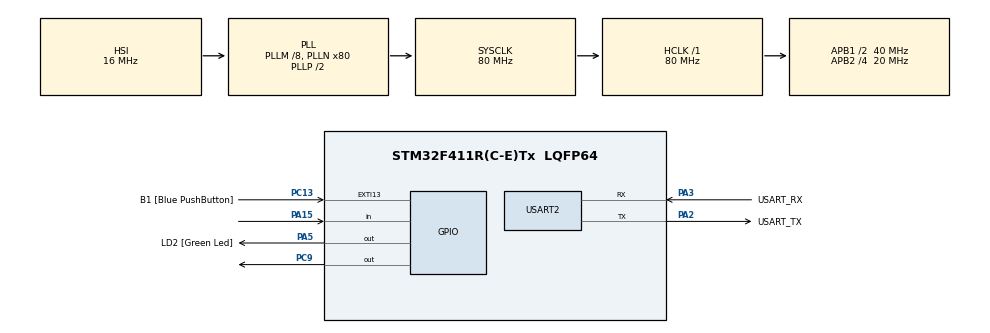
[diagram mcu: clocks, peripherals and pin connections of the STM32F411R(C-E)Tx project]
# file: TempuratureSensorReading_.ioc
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Mcu.Family=STM32F4
Mcu.Name=STM32F411R(C-E)Tx
Mcu.Package=LQFP64
NVIC.PriorityGroup=NVIC_PRIORITYGROUP_0
NVIC.TIM1_BRK_TIM9_IRQn=true\:0\:1\:false\:false\:true\:true\:true
NVIC.TIM1_UP_TIM10_IRQn=true\:0\:1\:false\:false\:true\:true\:true
NVIC.TIM3_IRQn=true\:0\:0\:false\:false\:true\:true\:true
PA13.GPIO_Label=TMS
PA13.Mode=Serial_Wire
PA13.Signal=SYS_JTMS-SWDIO
PA14.GPIO_Label=TCK
PA14.Mode=Serial_Wire
PA14.Signal=SYS_JTCK-SWCLK
PA15.Signal=GPIO_Input
PA2.GPIO_Label=USART_TX
PA2.Mode=Asynchronous
PA2.Signal=USART2_TX
PA3.GPIO_Label=USART_RX
PA3.Mode=Asynchronous
PA3.Signal=USART2_RX
PA5.GPIO_Label=LD2 [Green Led]
PA5.Signal=GPIO_Output
PB3.GPIO_Label=SWO
PB3.Signal=SYS_JTDO-SWO
PC13-ANTI_TAMP.GPIO_Label=B1 [Blue PushButton]
PC13-ANTI_TAMP.GPIO_ModeDefaultEXTI=GPIO_MODE_IT_FALLING
PC13-ANTI_TAMP.Signal=GPXTI13
PC14-OSC32_IN.Mode=LSE-External-Oscillator
PC14-OSC32_IN.Signal=RCC_OSC32_IN
PC15-OSC32_OUT.Mode=LSE-External-Oscillator
PC15-OSC32_OUT.Signal=RCC_OSC32_OUT
PC9.GPIO_ModeDefaultOutputPP=GPIO_MODE_OUTPUT_OD
PC9.GPIO_PuPd=GPIO_PULLUP
PC9.PinState=GPIO_PIN_SET
PC9.Signal=GPIO_Output
PH0\ -\ OSC_IN.Mode=HSE-External-Clock-Source
PH0\ -\ OSC_IN.Signal=RCC_OSC_IN
PH1\ -\ OSC_OUT.Mode=HSE-External-Clock-Source
PH1\ -\ OSC_OUT.Signal=RCC_OSC_OUT
ProjectManager.HeapSize=0x200
ProjectManager.StackSize=0x400
ProjectManager.TargetToolchain=STM32CubeIDE
RCC.48MHZClocksFreq_Value=40000000
RCC.AHBFreq_Value=80000000
RCC.APB1CLKDivider=RCC_HCLK_DIV2
RCC.APB1Freq_Value=40000000
RCC.APB1TimFreq_Value=80000000
RCC.APB2CLKDivider=RCC_HCLK_DIV4
RCC.APB2Freq_Value=20000000
RCC.APB2TimFreq_Value=40000000
RCC.CortexFreq_Value=80000000
RCC.FLatency-AdvancedSettings=FLASH_LATENCY_2
RCC.HCLKFreq_Value=80000000
RCC.HSE_VALUE=8000000
RCC.HSI_VALUE=16000000
RCC.PLLM=8
RCC.PLLN=80
RCC.SYSCLKFreq_VALUE=80000000
RCC.SYSCLKSource=RCC_SYSCLKSOURCE_PLLCLK
RCC.VCOOutputFreq_Value=160000000
TIM1.Period=1000
TIM1.Prescaler=40000 - 1
TIM3.Prescaler=0
USART2.VirtualMode=VM_ASYNC
VP_TIM1_VS_ClockSourceINT.Mode=Internal
VP_TIM3_VS_ClockSourceINT.Mode=Internal
board=NUCLEO-F411RE

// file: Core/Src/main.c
/* USER CODE BEGIN Header */
/**
  ******************************************************************************
  * @file           : main.c
  * @brief          : Main program body
  ******************************************************************************
  * @attention
  *
  * <h2><center>&copy; Copyright (c) 2020 STMicroelectronics.
  * All rights reserved.</center></h2>
  *
  * This software component is licensed by ST under BSD 3-Clause license,
  * the "License"; You may not use this file except in compliance with the
  * License. You may obtain a copy of the License at:
  *                        opensource.org/licenses/BSD-3-Clause
  *
  ******************************************************************************
  */
/* USER CODE END Header */
#include "main.h"

/* USER CODE BEGIN Includes */
#include "DHT.h"
#include <math.h>
/* USER CODE END Includes */

/* USER CODE BEGIN PTD */
DHT_DataTypedef DHT11_Data;
float T1 , T2 , H1 , H2;
/* USER CODE END PTD */

/* USER CODE BEGIN PD */
#define FAN_ON 1
#define FAN_OFF 0
#define e 2.718281828459

#define FAN_GPIO GPIOC
#define FAN_PIN GPIO_PIN_9
/* USER CODE END PD */

TIM_HandleTypeDef htim1;
TIM_HandleTypeDef htim3;

UART_HandleTypeDef huart2;

void SystemClock_Config(void);
static void MX_GPIO_Init(void);
static void MX_USART2_UART_Init(void);
static void MX_TIM1_Init(void);
static void MX_TIM3_Init(void);

/* USER CODE BEGIN 0 */
char serialOutBuffer[200];

uint8_t nowFanState = FAN_OFF;

uint64_t timerTick = 0;
void timerIRQcallback() {
//	uint16_t nowTimer =  __HAL_TIM_GET_COUNTER(&htim1);
//	sprintf(serialOutBuffer,"Timer interupted : nowTIme -> %d" , nowTimer);
//	HAL_UART_Transmit(&huart2 , (uint32_t *) serialOutBuffer , 200 , 100 );
	timerTick++;

}

uint64_t getTickTimer1() {
	return (timerTick - 1) * 65536 + (uint64_t) __HAL_TIM_GET_COUNTER(&htim1);
}

uint64_t getTimer1Second() {
	return getTickTimer1() / 1000;
}

uint8_t fanState = FAN_OFF;
uint64_t lastFanOffTimeSecond = 0;
uint64_t lastFanOnTimeSecond = 0;

uint8_t switchToOn() {
	double triggerOnProbs = 1;
	uint64_t timediff = getTimer1Second() - lastFanOffTimeSecond;
	timediff = timediff > 300 ? 300 : timediff;
	float timeFromLastOff = timediff; // Second Max = 300 ??

	float insideRHNow = H2;
	float outsideRHNow = H1;
	float diffNowRH = insideRHNow - outsideRHNow;

	double probDiffNowRh = (double) (1 / (1 + pow(e, - 0.34 * diffNowRH + 1)) );
	double probTimeFromLastOff = (double) (1 / (1 + pow(e, - 0.1 * timeFromLastOff + 1)) );
	double probInsideRh = (double) (1 / (1 + pow(e, - 0.34 * (insideRHNow - 60) + 1)) );

	triggerOnProbs = probDiffNowRh * probTimeFromLastOff * probInsideRh;
	return triggerOnProbs > 0.6;
}

uint8_t switchToOff() {
	double triggerOffProbs = 1;
	uint64_t timediff = getTimer1Second() - lastFanOnTimeSecond;
	timediff = timediff > 300 ? 300 : timediff;
	float timeFromLastOn = timediff; // Second Max = 300 ??

	float insideRHNow = H2;
	float outsideRHNow = H1;
	float diffNowRH = insideRHNow - outsideRHNow;

	double probDiffNowRh = (double) (1 / (1 + pow(e, - 0.3 * diffNowRH + 0.3)) );

	double probTimeFromLastOff = (double) (1 / (1 + pow(e, - 0.2 * timeFromLastOn + 10)) );
	probTimeFromLastOff = 1 - probTimeFromLastOff;

	double probInsideRh = (double) (1 / (1 + pow(e, - 0.4 * (insideRHNow - 45) + 3.5)) );

	triggerOffProbs = probDiffNowRh * probTimeFromLastOff * probInsideRh;
	return triggerOffProbs < 0.5;
}

void setFan(uint8_t targetFanState) {
	if (targetFanState == nowFanState) return;

}

void fanControlLoop() {
//	float insideRH = 50;
//	float outsideRH = 60;
//	uint64_t timeInSecond = getTimer1Second();

	switch (fanState) {
		case FAN_ON :
			state_FanOn();
			break;
		case FAN_OFF :
			state_FanOff();
			break;
		default :
			break;
	}

}

void state_FanOn() {
	if (switchToOff() > 0) {
		lastFanOffTimeSecond = getTimer1Second();
		fanState = FAN_OFF;
		return;
	}

	  sprintf(serialOutBuffer,"FAN ON                                                                                                     \n" );
	  HAL_UART_Transmit(&huart2 , (uint32_t *) serialOutBuffer , 200 , 100 );
	  HAL_GPIO_WritePin(FAN_GPIO, FAN_PIN, GPIO_PIN_RESET);

}

void state_FanOff() {
	if (switchToOn() > 0) {
		lastFanOnTimeSecond = getTimer1Second();
		fanState = FAN_ON;
		return;
	}
	  sprintf(serialOutBuffer,"FAN OFF                                                                                                      \n" );
	  HAL_UART_Transmit(&huart2 , (uint32_t *) serialOutBuffer , 200 , 100 );
	  HAL_GPIO_WritePin(FAN_GPIO, FAN_PIN, GPIO_PIN_SET);
}

void tim1Delay(uint32_t mills) {
	uint64_t startTime = getTickTimer1();
	//mills *= 1000;
	while (getTickTimer1() - startTime < mills);
	return;
}

void fanSystemHandle() {
	  setDhtPin(GPIO_PIN_15);
	  DHT_GetData(&DHT11_Data);
	  T1 = DHT11_Data.Temperature;
	  H1 = DHT11_Data.Humidity;
	  //sprintf(serialOutBuffer,"Sensor 1 : Temperature : %.2f C , Humidity : %.2f %% \n",Temperature ,Humidity );
	  //HAL_UART_Transmit(&huart2 , (uint32_t *) serialOutBuffer , 100 , 100 );

	  tim1Delay(100);
	  setDhtPin(GPIO_PIN_12);
	  DHT_GetData(&DHT11_Data);
	  T2 = DHT11_Data.Temperature;
	  H2 = DHT11_Data.Humidity + 4; // Shift up 4 %
	  //sprintf(serialOutBuffer,"Sensor 2 : Temperature : %.2f C , Humidity : %.2f %% \n",Temperature ,Humidity );
	  sprintf(serialOutBuffer,"Sensor 1 : Temperature : %.2f C , Humidity : %.2f %%    Sensor 2 : Temperature : %.2f C , Humidity : %.2f %% \n",T1 ,H1 , T2 , H2 );
	  HAL_UART_Transmit(&huart2 , (uint32_t *) serialOutBuffer , 200 , 100 );
	  fanControlLoop();
	  tim1Delay(1000);
}

/* USER CODE END 0 */

int main(void)
{

  /* MCU Configuration--------------------------------------------------------*/

  /* Reset of all peripherals, Initializes the Flash interface and the Systick. */
  HAL_Init();

  /* USER CODE BEGIN Init */
  // HAL_GPIO_WritePin(FAN_GPIO, FAN_PIN, GPIO_PIN_SET);
  /* USER CODE END Init */

  /* Configure the system clock */
  SystemClock_Config();

  /* Initialize all configured peripherals */
  MX_GPIO_Init();
  MX_USART2_UART_Init();
  MX_TIM1_Init();
  MX_TIM3_Init();
  /* USER CODE BEGIN 2 */
  HAL_TIM_Base_Start_IT(&htim1);
  HAL_TIM_Base_Start_IT(&htim3);
  /* USER CODE END 2 */

  /* Infinite loop */
  while (1)
  {

    /* USER CODE BEGIN 3 */
//	  setDhtPin(GPIO_PIN_15);
//	  DHT_GetData(&DHT11_Data);
//  	  T1 = DHT11_Data.Temperature;
//	  H1 = DHT11_Data.Humidity;
//	  //sprintf(serialOutBuffer,"Sensor 1 : Temperature : %.2f C , Humidity : %.2f %% \n",Temperature ,Humidity );
//	  //HAL_UART_Transmit(&huart2 , (uint32_t *) serialOutBuffer , 100 , 100 );
//
//	  HAL_Delay(100);
//	  setDhtPin(GPIO_PIN_12);
//	  DHT_GetData(&DHT11_Data);
//  	  T2 = DHT11_Data.Temperature;
//	  H2 = DHT11_Data.Humidity + 4; // Shift up 4 %
//	  //sprintf(serialOutBuffer,"Sensor 2 : Temperature : %.2f C , Humidity : %.2f %% \n",Temperature ,Humidity );
//	  sprintf(serialOutBuffer,"Sensor 1 : Temperature : %.2f C , Humidity : %.2f %%    Sensor 2 : Temperature : %.2f C , Humidity : %.2f %% \n",T1 ,H1 , T2 , H2 );
//	  HAL_UART_Transmit(&huart2 , (uint32_t *) serialOutBuffer , 200 , 100 );
//	  fanControlLoop();
//	  HAL_Delay(1000);

//	  uint64_t nowTimer = getTickTimer1();
//	  sprintf(serialOutBuffer,"nowTIme -> %d                                                                                                  \n" , nowTimer);
//	  HAL_UART_Transmit(&huart2 , (uint32_t *) serialOutBuffer , 200 , 100 );
//	  HAL_Delay(100);

  }
  /* USER CODE END 3 */
}

void SystemClock_Config(void)
{
  RCC_OscInitTypeDef RCC_OscInitStruct = {0};
  RCC_ClkInitTypeDef RCC_ClkInitStruct = {0};

  /** Configure the main internal regulator output voltage
  */
  __HAL_RCC_PWR_CLK_ENABLE();
  __HAL_PWR_VOLTAGESCALING_CONFIG(PWR_REGULATOR_VOLTAGE_SCALE1);
  /** Initializes the RCC Oscillators according to the specified parameters
  * in the RCC_OscInitTypeDef structure.
  */
  RCC_OscInitStruct.OscillatorType = RCC_OSCILLATORTYPE_HSI;
  RCC_OscInitStruct.HSIState = RCC_HSI_ON;
  RCC_OscInitStruct.HSICalibrationValue = RCC_HSICALIBRATION_DEFAULT;
  RCC_OscInitStruct.PLL.PLLState = RCC_PLL_ON;
  RCC_OscInitStruct.PLL.PLLSource = RCC_PLLSOURCE_HSI;
  RCC_OscInitStruct.PLL.PLLM = 8;
  RCC_OscInitStruct.PLL.PLLN = 80;
  RCC_OscInitStruct.PLL.PLLP = RCC_PLLP_DIV2;
  RCC_OscInitStruct.PLL.PLLQ = 4;
  if (HAL_RCC_OscConfig(&RCC_OscInitStruct) != HAL_OK)
  {
    Error_Handler();
  }
  /** Initializes the CPU, AHB and APB buses clocks
  */
  RCC_ClkInitStruct.ClockType = RCC_CLOCKTYPE_HCLK|RCC_CLOCKTYPE_SYSCLK
                              |RCC_CLOCKTYPE_PCLK1|RCC_CLOCKTYPE_PCLK2;
  RCC_ClkInitStruct.SYSCLKSource = RCC_SYSCLKSOURCE_PLLCLK;
  RCC_ClkInitStruct.AHBCLKDivider = RCC_SYSCLK_DIV1;
  RCC_ClkInitStruct.APB1CLKDivider = RCC_HCLK_DIV2;
  RCC_ClkInitStruct.APB2CLKDivider = RCC_HCLK_DIV4;

  if (HAL_RCC_ClockConfig(&RCC_ClkInitStruct, FLASH_LATENCY_2) != HAL_OK)
  {
    Error_Handler();
  }
}

static void MX_TIM1_Init(void)
{

  TIM_ClockConfigTypeDef sClockSourceConfig = {0};
  TIM_MasterConfigTypeDef sMasterConfig = {0};

  htim1.Instance = TIM1;
  htim1.Init.Prescaler = 40000 - 1;
  htim1.Init.CounterMode = TIM_COUNTERMODE_UP;
  htim1.Init.Period = 1000;
  htim1.Init.ClockDivision = TIM_CLOCKDIVISION_DIV1;
  htim1.Init.RepetitionCounter = 0;
  htim1.Init.AutoReloadPreload = TIM_AUTORELOAD_PRELOAD_DISABLE;
  if (HAL_TIM_Base_Init(&htim1) != HAL_OK)
  {
    Error_Handler();
  }
  sClockSourceConfig.ClockSource = TIM_CLOCKSOURCE_INTERNAL;
  if (HAL_TIM_ConfigClockSource(&htim1, &sClockSourceConfig) != HAL_OK)
  {
    Error_Handler();
  }
  sMasterConfig.MasterOutputTrigger = TIM_TRGO_RESET;
  sMasterConfig.MasterSlaveMode = TIM_MASTERSLAVEMODE_DISABLE;
  if (HAL_TIMEx_MasterConfigSynchronization(&htim1, &sMasterConfig) != HAL_OK)
  {
    Error_Handler();
  }

}

static void MX_TIM3_Init(void)
{

  TIM_ClockConfigTypeDef sClockSourceConfig = {0};
  TIM_MasterConfigTypeDef sMasterConfig = {0};

  htim3.Instance = TIM3;
  htim3.Init.Prescaler = 0;
  htim3.Init.CounterMode = TIM_COUNTERMODE_UP;
  htim3.Init.Period = 65535;
  htim3.Init.ClockDivision = TIM_CLOCKDIVISION_DIV1;
  htim3.Init.AutoReloadPreload = TIM_AUTORELOAD_PRELOAD_DISABLE;
  if (HAL_TIM_Base_Init(&htim3) != HAL_OK)
  {
    Error_Handler();
  }
  sClockSourceConfig.ClockSource = TIM_CLOCKSOURCE_INTERNAL;
  if (HAL_TIM_ConfigClockSource(&htim3, &sClockSourceConfig) != HAL_OK)
  {
    Error_Handler();
  }
  sMasterConfig.MasterOutputTrigger = TIM_TRGO_RESET;
  sMasterConfig.MasterSlaveMode = TIM_MASTERSLAVEMODE_DISABLE;
  if (HAL_TIMEx_MasterConfigSynchronization(&htim3, &sMasterConfig) != HAL_OK)
  {
    Error_Handler();
  }

}

static void MX_USART2_UART_Init(void)
{

  huart2.Instance = USART2;
  huart2.Init.BaudRate = 115200;
  huart2.Init.WordLength = UART_WORDLENGTH_8B;
  huart2.Init.StopBits = UART_STOPBITS_1;
  huart2.Init.Parity = UART_PARITY_NONE;
  huart2.Init.Mode = UART_MODE_TX_RX;
  huart2.Init.HwFlowCtl = UART_HWCONTROL_NONE;
  huart2.Init.OverSampling = UART_OVERSAMPLING_16;
  if (HAL_UART_Init(&huart2) != HAL_OK)
  {
    Error_Handler();
  }

}

static void MX_GPIO_Init(void)
{
  GPIO_InitTypeDef GPIO_InitStruct = {0};

  /* GPIO Ports Clock Enable */
  __HAL_RCC_GPIOC_CLK_ENABLE();
  __HAL_RCC_GPIOH_CLK_ENABLE();
  __HAL_RCC_GPIOA_CLK_ENABLE();
  __HAL_RCC_GPIOB_CLK_ENABLE();

  /*Configure GPIO pin Output Level */
  HAL_GPIO_WritePin(LD2_GPIO_Port, LD2_Pin, GPIO_PIN_RESET);

  /*Configure GPIO pin Output Level */
  HAL_GPIO_WritePin(GPIOC, GPIO_PIN_9, GPIO_PIN_SET);

  /*Configure GPIO pin : B1_Pin */
  GPIO_InitStruct.Pin = B1_Pin;
  GPIO_InitStruct.Mode = GPIO_MODE_IT_FALLING;
  GPIO_InitStruct.Pull = GPIO_NOPULL;
  HAL_GPIO_Init(B1_GPIO_Port, &GPIO_InitStruct);

  /*Configure GPIO pin : LD2_Pin */
  GPIO_InitStruct.Pin = LD2_Pin;
  GPIO_InitStruct.Mode = GPIO_MODE_OUTPUT_PP;
  GPIO_InitStruct.Pull = GPIO_NOPULL;
  GPIO_InitStruct.Speed = GPIO_SPEED_FREQ_LOW;
  HAL_GPIO_Init(LD2_GPIO_Port, &GPIO_InitStruct);

  /*Configure GPIO pin : PC9 */
  GPIO_InitStruct.Pin = GPIO_PIN_9;
  GPIO_InitStruct.Mode = GPIO_MODE_OUTPUT_OD;
  GPIO_InitStruct.Pull = GPIO_PULLUP;
  GPIO_InitStruct.Speed = GPIO_SPEED_FREQ_LOW;
  HAL_GPIO_Init(GPIOC, &GPIO_InitStruct);

  /*Configure GPIO pin : PA15 */
  GPIO_InitStruct.Pin = GPIO_PIN_15;
  GPIO_InitStruct.Mode = GPIO_MODE_INPUT;
  GPIO_InitStruct.Pull = GPIO_NOPULL;
  HAL_GPIO_Init(GPIOA, &GPIO_InitStruct);

}

void Error_Handler(void)
{
  __disable_irq();
  while (1)
  {
  }
}

/************************ (C) COPYRIGHT STMicroelectronics *****END OF FILE****/
